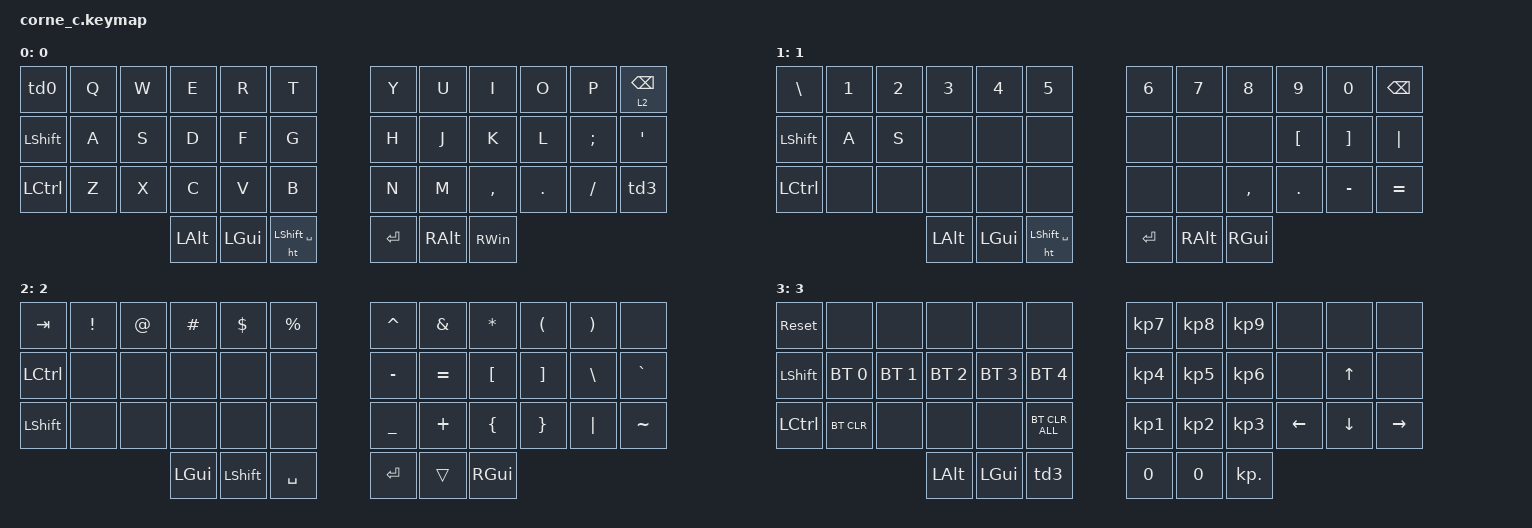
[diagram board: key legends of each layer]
/*
 * Copyright (c) 2020 The ZMK Contributors
 *
 * SPDX-License-Identifier: MIT
 */

#include <behaviors.dtsi>
#include <dt-bindings/zmk/bt.h>
#include <dt-bindings/zmk/keys.h>

#define DEFAULT    0
#define NUMSYMB    1
#define NAVIGATION  2
#define SHORTCUTS   3

/ {
    behaviors {
        ht: ht {
            compatible = "zmk,behavior-hold-tap";
            label = "HT";
            bindings = <&kp>;
            #binding-cells = <2>;
            tapping-term-ms = <200>;
            flavor = "tap-preferred";
            quick-tap-ms = <150>;
        };

        td0: td0 {
            compatible = "zmk,behavior-tap-dance";
            label = "TD0";
            #binding-cells = <0>;
            bindings = <&ht ESCAPE TILDE>, <&kp TAB>;
        };

        td3: td3 {
            compatible = "zmk,behavior-tap-dance";
            label = "TD3";
            #binding-cells = <0>;
            bindings = <&mo 1>, <&mo 3>;
        };

        ht_layer: ht_layer {
            compatible = "zmk,behavior-hold-tap";
            label = "HT_LAYER";
            bindings = <&mo>, <&kp>;

            #binding-cells = <2>;
            tapping-term-ms = <200>;
            quick-tap-ms = <150>;
            flavor = "tap-preferred";
        };
    };

    combos {
        compatible = "zmk,combos";

        combo1 {
            bindings = <&kp UP>;
            key-positions = <8 9>;
        };

        combo2 {
            bindings = <&kp DOWN>;
            key-positions = <20 21>;
        };

        combo3 {
            bindings = <&caps_word>;
            key-positions = <13 14>;
        };

        combo4 {
            bindings = <&kp LEFT>;
            key-positions = <7 8>;
        };

        combo5 {
            bindings = <&kp RIGHT>;
            key-positions = <9 10>;
        };
    };

    keymap {
        compatible = "zmk,keymap";

        layer0 {
            label = "0";
            bindings = <
&td0       &kp Q  &kp W  &kp E         &kp R         &kp T              &kp Y      &kp U     &kp I          &kp O    &kp P          &ht_layer 2 BACKSPACE
&kp LSHFT  &kp A  &kp S  &kp D         &kp F         &kp G              &kp H      &kp J     &kp K          &kp L    &kp SEMICOLON  &kp SQT
&kp LCTRL  &kp Z  &kp X  &kp C         &kp V         &kp B              &kp N      &kp M     &kp COMMA      &kp DOT  &kp FSLH       &td3
                         &kp LEFT_ALT  &kp LEFT_GUI  &ht LSHFT SPACE    &kp ENTER  &kp RALT  &kp RIGHT_WIN
            >;
        };

        layer1 {
            label = "1";
            bindings = <
&kp BACKSLASH  &kp N1  &kp N2  &kp N3        &kp N4        &kp N5             &kp N6   &kp N7         &kp N8         &kp N9            &kp N0             &kp BSPC
&kp LSHFT      &kp A   &kp S   &none         &none         &none              &none    &none          &none          &kp LEFT_BRACKET  &kp RIGHT_BRACKET  &kp PIPE
&kp LCTRL      &none   &none   &none         &none         &none              &none    &none          &kp COMMA      &kp PERIOD        &kp MINUS          &kp EQUAL
                               &kp LEFT_ALT  &kp LEFT_GUI  &ht LSHFT SPACE    &kp RET  &kp RIGHT_ALT  &kp RIGHT_GUI
            >;
        };

        layer2 {
            label = "2";
            bindings = <
&kp TAB    &kp EXCLAMATION  &kp AT_SIGN  &kp HASH      &kp DOLLAR  &kp PERCENT    &kp CARET  &kp AMPERSAND  &kp ASTERISK      &kp LEFT_PARENTHESIS  &kp RIGHT_PARENTHESIS  &none
&kp LCTRL  &none            &none        &none         &none       &none          &kp MINUS  &kp EQUAL      &kp LEFT_BRACKET  &kp RIGHT_BRACKET     &kp BACKSLASH          &kp GRAVE
&kp LSHFT  &none            &none        &none         &none       &none          &kp UNDER  &kp PLUS       &kp LBRC          &kp RBRC              &kp PIPE               &kp TILDE
                                         &kp LEFT_GUI  &kp LSHFT   &kp SPACE      &kp RET    &trans         &kp RIGHT_GUI
            >;
        };

        layer3 {
            label = "3";
            bindings = <
&sys_reset  &none         &none         &none         &none         &none             &kp KP_NUMBER_7  &kp KP_NUMBER_8  &kp KP_NUMBER_9  &none     &none     &none
&kp LSHFT   &bt BT_SEL 0  &bt BT_SEL 1  &bt BT_SEL 2  &bt BT_SEL 3  &bt BT_SEL 4      &kp KP_NUMBER_4  &kp KP_NUMBER_5  &kp KP_NUMBER_6  &none     &kp UP    &none
&kp LCTRL   &bt BT_CLR    &none         &none         &none         &bt BT_CLR_ALL    &kp KP_N1        &kp KP_NUMBER_2  &kp KP_NUMBER_3  &kp LEFT  &kp DOWN  &kp RIGHT
                                        &kp LEFT_ALT  &kp LEFT_GUI  &td3              &kp N0           &kp N0           &kp KP_DOT
            >;
        };
    };
};
